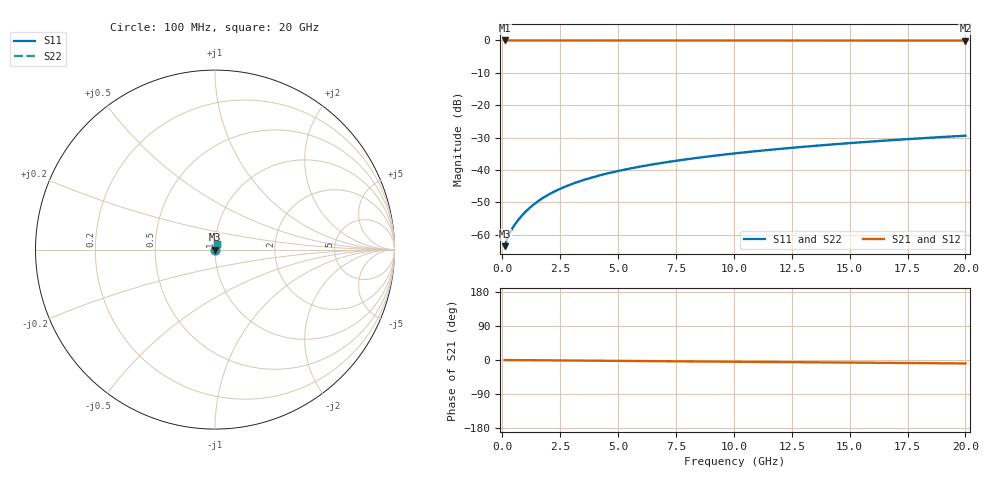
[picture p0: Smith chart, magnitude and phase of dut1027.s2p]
! Touchstone file exported from HFSS 2026.1.0
!  File:  C:/ffzhzh/LocalFiles/Ansys_Project_Files/temp_train_BSMRDL_1027_1783173549_22436.aedt
!  Generated:  10:00:16 PM Jul  4, 2026
!  Design:  BSMRDL
!  Project:  temp_train_BSMRDL_1027_1783173549_22436
! Variables:
!  h_bsmrdl = 4.91um
!  h_ox = 20um
!  h_rdl = 5um
!  h_sub = 80um
!  h_tmrdl = 5um
!  h_tsv = 80um
!  h_via = 3um
!  l_bsmrdl = 141.3um
!  l_sub = 541.3um
!  l_tmrdl = 200um
!  m_sub = 200um
!  pitch = 33.08um
!  r_tsv = 6um
!  s_tmrdl = 10um
!  w_bsmrdl = 24.53um
!  w_sub = 500um
!  w_tmrdl = 12um
!  x_tsv_center1 = 206um
!  x_tsv_center2 = 371.83um
!  x_tsv_center3 = 583.83um
!  x_tsv_center4 = 749.66um
!  x_tsv_center5 = 961.66um
!  x_tsv_center6 = 1127.49um
# GHz S MA R 50.000000
! Terminal data exported
! Port[1] = BSM_RDL1_1_T1
! Port[2] = BSM_RDL1_1_T2
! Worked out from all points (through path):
!   200 points, 100 MHz to 20 GHz, reference 50 ohm
!   highest |S21| = -0.01 dB at 100 MHz (marker M1); lowest = 0.0 dB at 20 GHz (marker M2)
!   group delay of S21, straight-line fit = 1.26 ps
!   lowest |S11| = -63.5 dB at 100 MHz (marker M3), VSWR 1.00, Z = 50.1 + j0.0295 ohm
!   |S11| at or under -10 dB: start of sweep to end of sweep
!   |S22| runs from -63.5 to -29.4 dB; largest |S21 - S12| = 1.2e-15
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0.1  0.00067 26.1  0.9994 -0.1  0.9994 -0.1  0.00067 26.1
! Gamma 0 0 0 0
! Port Impedance 50 0 50 0
0.2  0.0008577 38.5  0.9993 -0.1  0.9993 -0.1  0.0008577 38.5
0.3  0.001035 45.5  0.9993 -0.1  0.9993 -0.1  0.001035 45.5
0.4  0.001203 50.6  0.9992 -0.2  0.9992 -0.2  0.001203 50.6
0.5  0.001371 54.8  0.9992 -0.2  0.9992 -0.2  0.001371 54.8
0.7  0.001719 61.1  0.9992 -0.3  0.9992 -0.3  0.001719 61.1
0.9  0.002083 65.5  0.9991 -0.4  0.9991 -0.4  0.002083 65.5
1.1  0.002458 68.5  0.9991 -0.5  0.9991 -0.5  0.002458 68.5
1.3  0.002839 70.7  0.9991 -0.6  0.9991 -0.6  0.002839 70.7
1.7  0.003609 73.4  0.999 -0.8  0.999 -0.8  0.003609 73.4
2.2  0.004571 75.3  0.9989 -1.0  0.9989 -1.0  0.004571 75.3
2.8  0.005709 76.4  0.9988 -1.3  0.9988 -1.3  0.005709 76.4
3.5  0.007006 76.9  0.9986 -1.6  0.9986 -1.6  0.007006 76.9
4.2  0.00827 77.2  0.9984 -2.0  0.9984 -2.0  0.00827 77.2
5  0.009678 77.2  0.9982 -2.3  0.9982 -2.3  0.009679 77.2
5.9  0.01123 77.3  0.998 -2.7  0.998 -2.7  0.01123 77.2
6.8  0.01275 77.2  0.9978 -3.1  0.9978 -3.1  0.01275 77.2
8.3  0.01524 77.1  0.9975 -3.8  0.9975 -3.8  0.01524 77.1
10.1  0.01819 76.8  0.9971 -4.6  0.9971 -4.6  0.01819 76.8
13.4  0.02351 76.2  0.9966 -6.1  0.9966 -6.1  0.02351 76.2
16.7  0.02876 75.3  0.996 -7.6  0.996 -7.6  0.02876 75.3
20  0.03395 74.3  0.9955 -9.1  0.9955 -9.1  0.03395 74.3
